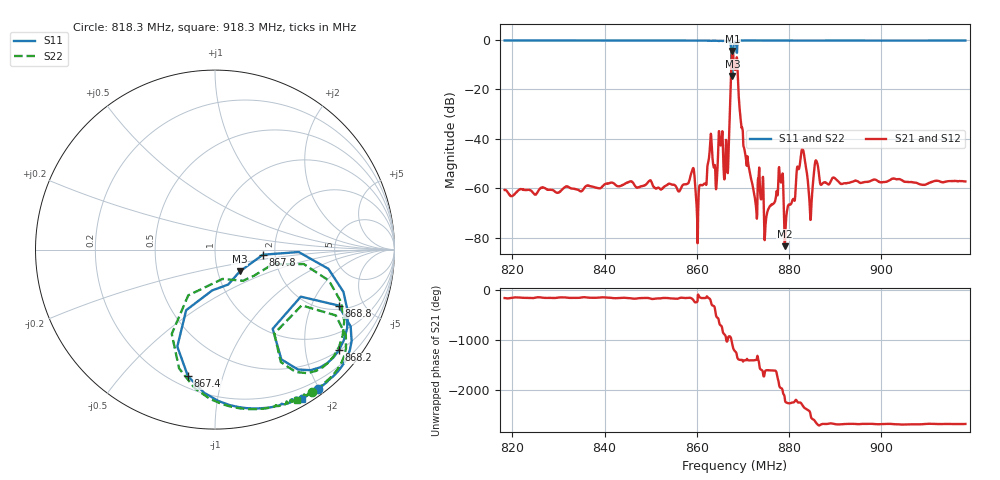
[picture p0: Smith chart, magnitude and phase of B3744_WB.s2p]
! Matrix data file written by TouchstoneData, EPCOS AG
! FILENAME: "B3744_WB.s2p"
! COMMENT: "S-Parameter B3744 wideband (unmatched)"
! INFO: nport=2, nfreq=1601
! DATE: "Thu Jul 24 09:32:11 2008"
! USER: "Thomas Telgmann"
! port | pin | signal
!  1  |  2  |  in
!  2  |  4  |  out
# MHZ S MA R 50
! freq  magS11 angS11  magS21 angS21  magS12 angS12  magS22 angS22
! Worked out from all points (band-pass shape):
!   1601 points, 818.3 MHz to 918.3 MHz, reference 50 ohm
!   highest |S21| = -4.57 dB at 867.7 MHz (marker M1); lowest = -83.5 dB at 879.1 MHz (marker M2)
!   |S21| within 3 dB of the highest: 867.5505 MHz to 867.9607 MHz (410.2 kHz wide, 0.0473 % of centre); 868.653 MHz to 868.7428 MHz (89.76 kHz wide, 0.0103 % of centre)
!   lowest |S11| = -14.7 dB at 867.7 MHz (marker M3), VSWR 1.45, Z = 63.8 - j16 ohm
!   |S11| at or under -10 dB: 867.5711 MHz to 867.8186 MHz (247.5 kHz wide, 0.0285 % of centre)
!   |S22| runs from -15.5 to -0.3 dB; largest |S21 - S12| = 0.002
!   S11 on the Smith chart (normalised r, x): 818.3 MHz: 0.08, -1.98; 867.4 MHz: 0.26, -0.77; 867.8 MHz: 1.72, -0.11; 868.2 MHz: 0.51, -2.73; 868.8 MHz: 2.21, -3.21; 918.3 MHz: 0.08, -1.74
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818.3  0.9662 -53.5  0.00092 -156.3  0.000921 -155.1  0.9611 -55.7
834.9875  0.9645 -54.8  0.0008692 -144.9  0.0008613 -144.6  0.9597 -56.9
851.675  0.9623 -56.4  0.001015 -163.2  0.001017 -162.5  0.9582 -58.5
859.05  0.9596 -57.8  0.002359 -173.6  0.002354 -173.5  0.9559 -59.8
860.2375  0.9598 -58.1  0.0001111 -93.6  0.0001117 -95.1  0.9558 -60.1
862.8625  0.9555 -59.6  0.006742 -174.6  0.006744 -174.3  0.9516 -61.7
866.3  0.9397 -66.4  0.006889 147.4  0.006894 147.8  0.9354 -68.5
867.425  0.7209 -102.1  0.1804 124.3  0.1806 124.4  0.6913 -106.8
867.7375  0.184 -41.3  0.5911 -13.0  0.5904 -13.0  0.261 -34.1
867.8  0.2681 -6.1  0.5856 -38.5  0.5843 -38.4  0.3316 -14.3
868.2375  0.8894 -39.1  0.2527 -131.3  0.2524 -131.0  0.8887 -41.6
868.3  0.8925 -42.4  0.2453 -136.9  0.245 -136.6  0.8918 -44.7
868.8  0.7557 -24.4  0.3167 95.2  0.3158 95.4  0.7662 -28.6
872.6125  0.9648 -53.7  0.0006317 40.1  0.0006232 40.6  0.9607 -55.8
875.1125  0.9635 -55.0  0.0002663 -160.9  0.0002661 -162.0  0.9596 -57.1
878.2375  0.9619 -56.0  0.001317 -153.7  0.001319 -153.4  0.9579 -58.0
879.1125  0.9611 -56.2  6.713e-05 -15.3  6.783e-05 -22.5  0.957 -58.2
882.925  0.9536 -56.5  0.00613 -138.3  0.006118 -138.1  0.9494 -58.5
884.9875  0.9592 -56.6  0.0006688 -46.7  0.000654 -46.3  0.9551 -58.6
885.925  0.9593 -56.6  0.003604 -134.7  0.003603 -134.5  0.9549 -58.7
901.675  0.961 -58.5  0.001413 -152.3  0.001418 -151.7  0.9556 -60.4
918.3  0.9615 -59.7  0.001366 -154.1  0.001373 -154.1  0.9552 -61.6
